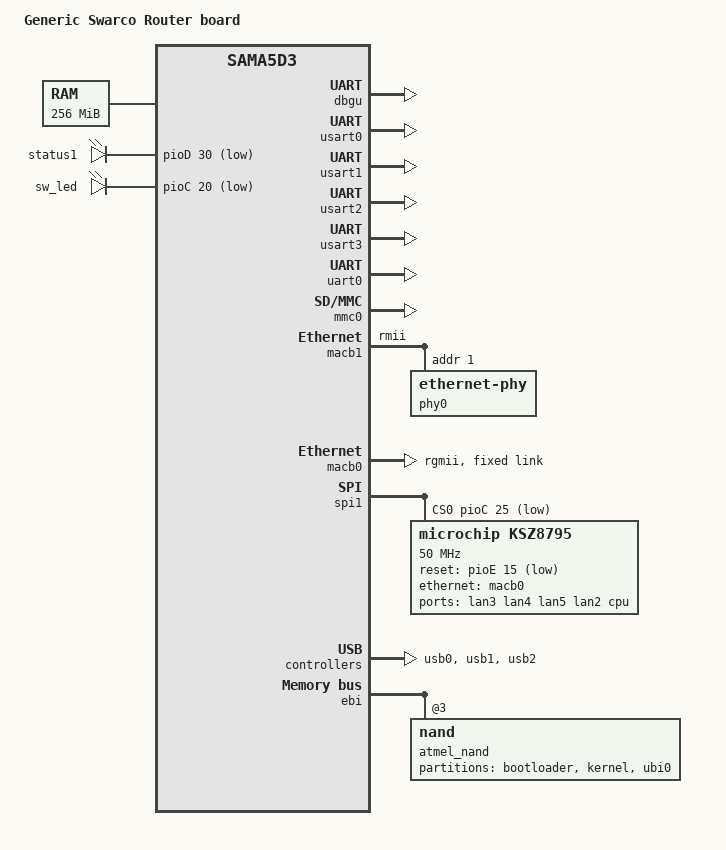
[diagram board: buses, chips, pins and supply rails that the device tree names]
/*
 * sama5d35-swarco-router.dtsi - Device Tree include file with common stuff
 * for Swarco Fiber Router and Swarco Ethernet Router. These boards are
 * identical except for the network ports.
 *
 *  Copyright (C) 2013 Atmel,
 *                2013 Ludovic Desroches <ludovic.desroches@atmel.com>
 *                2016 Karl Olsen <karl@micro-technic.com>
 *                2020 Guido Classen 
 *
 * Licensed under GPLv2 or later.
 */

#include "sama5d35.dtsi"

/ {
	model = "Generic Swarco Router board";
	compatible = "atmel,sama5d35-swarco-router", "atmel,sama5d35", "atmel,sama5d3", "atmel,sama5";

	chosen {
		stdout-path = "serial0:115200n8";
		/* bootargs = "rootfstype=ubifs ubi.mtd=2 root=ubi0:rootfs"; */
	};

	memory {
		reg = <0x20000000 0x10000000>;
	};

	clocks {
		slow_xtal {
			clock-frequency = <32768>;
		};

		main_xtal {
			clock-frequency = <12000000>;
		};
	};

	gpioleds {
		compatible = "gpio-leds";
		
		/* D7-B green LED in front */
		led_status1 {
			label = "status1";
			gpios = <&pioD 30 GPIO_ACTIVE_LOW>;
		};

		/* D1 green SMD LED */
		led_sw {
			label = "sw_led";
			gpios = <&pioC 20 GPIO_ACTIVE_LOW>;
			default-state = "on";
			linux,default-trigger = "cpu0";
		};
	};

	ahb {
		apb {
			/* DBGU (/dev/ttyS0): Console port. RxD, TxD.
			 * Accessible through USB Device port with FTDI USB-serial converter. */
			dbgu: serial@ffffee00 {
				atmel,use-dma-rx;
				atmel,use-dma-tx;
				status = "okay";
			};

			/* USART0 (/dev/ttyS1): RS485. RxD, TxD, RTS.
			 * CN4 DSUB-9 male on front. */
			usart0: serial@f001c000 {
				pinctrl-0 = <&pinctrl_usart0 &pinctrl_usart0_rts>;
				linux,rs485-enabled-at-boot-time;
				rs485-rts-delay = <0 0>;
				status = "okay";
			};

			/* USART1 (/dev/ttyS2): RS422. RxD, TxD.
			 * CN5 DSUB-9 male on front. */
			usart1: serial@f0020000 {
				status = "okay";
			};

			/* USART2 (/dev/ttyS3): RS232 with full modem.
			 * CN3 DSUB-9 male on front. */
			usart2: serial@f8020000 {
				pinctrl-0 = <&pinctrl_usart2 &pinctrl_usart2_rts_cts>;
				dtr-gpios = <&pioE 27 GPIO_ACTIVE_LOW>;
				rng-gpios = <&pioE 28 GPIO_ACTIVE_LOW>;
				dsr-gpios = <&pioE 29 GPIO_ACTIVE_LOW>;
				dcd-gpios = <&pioE 30 GPIO_ACTIVE_LOW>;
				status = "okay";
			};

			/* USART3 (/dev/ttyS4): RS232#1. RxD, TxD.
			 * CN7 10-pin box header. */
			usart3: serial@f8024000 {
				status = "okay";
			};

			/* UART0 (dev(ttyS5): RS232#2. RxD, TxD.
			 * CN6 10-pin box header. */
			uart0: serial@f0024000 {
				status = "okay";
			};

			/* MicroSD connector */
			mmc0: mmc@f0000000 {
				pinctrl-0 = <&pinctrl_mmc0_clk_cmd_dat0 &pinctrl_mmc0_dat1_3 &pinctrl_mmc0_cd>;
				/* If you want to prevent DMA usage:
				 * dma-names = "rxtxdlesnotexist"; */
				status = "okay";

				slot@0 {
					reg = <0>;
					bus-width = <4>;
					cd-gpios = <&pioB 17 GPIO_ACTIVE_LOW>;
				};
			};

			/* 10/100 macb with KSZ8041FTLI phy.
			 * U2 RJ45 magjack on front. */
			macb1: ethernet@f802c000 {
				phy-mode = "rmii";
				#address-cells = <1>;
				#size-cells = <0>;
				status = "okay";

				phy0: ethernet-phy@1 {
					reg = <1>;
				};
			};

			/* Gigabit gmac directly connected to a KSZ8795 or
			 * KSZ8765 5-port switch. We use a platform "fixed"
			 * MDIO bus (CONFIG_FIXED_PHY) at 1000M always up
			 * instead of a physical MDIO bus.
			 * The KSZ87x5 is managed through SPI interface. */
			macb0: ethernet@f0028000 {
				pinctrl-0 = <&pinctrl_macb0_data_rgmii &pinctrl_macb0_signal_rgmii_nomdio>;
				phy-mode = "rgmii";
				#phy-mode = "rgmii-id";
				#address-cells = <1>;
				#size-cells = <0>;
				status = "okay";

				/* @@kro: Support for "fixed-link" has been patched into
				 * drivers/net/ethernet/cadence/macb.c.
				 * Without this macb.c only checks its own mii bus. */
				fixed-link {
					speed = <1000>;
					full-duplex;
				};
			};

			/* SPI */
			spi1: spi@f8008000 {
				/* The default pinctrl_spi1 covers SPCK, MISO, MOSI.
				 * Chip select is GPIO which does not need pinctrl. */
				/*
                                 * pinctrl-0 = <&pinctrl_spi_ksz>;
                                 */
                                cs-gpios = <&pioC 25 GPIO_ACTIVE_LOW>;
				status = "okay";
                                /*
                                 * id = <1>;
                                 */

				/* ksz87x5_spi@0 { */
				/* 	/\* Micrel KSZ8795 / KSZ8765 5-port switch *\/ */
				/* 	compatible = "micrel,ksz8765"; */
				/* 	reg = <0>; */
				/* 	reset-gpios = <&pioE 15 GPIO_ACTIVE_LOW>; */
				/* 	spi-max-frequency = <50000000>; */
				/* 	#address-cells = <1>; */
				/* 	#size-cells = <0>; */
					
				/* 	ports { */
				/* 		#address-cells = <1>; */
				/* 		#size-cells = <0>; */

				/* 		port4@4 { */
				/* 			reg = <4>; */
				/* 			label = "cpu"; */
				/* 			ethernet = <&macb0>; */
				/* 		}; */
				/* 	}; */
				/* }; */
		                ksz8795: ksz8795@0 {
                                        /* Micrel KSZ8795  5-port switch */
			                compatible = "microchip,ksz8795";
			                reg = <0>;
                                        reset-gpios = <&pioE 15 GPIO_ACTIVE_LOW>; 
			                spi-max-frequency = <50000000>;
			                /*
                                         * spi-cpha;
			                 * spi-cpol;
                                         */
                                        status = "okay";

			                ports {
				                #address-cells = <1>;
				                #size-cells = <0>;
				                port@0 {
					                reg = <0>;
					                label = "lan3";
				                };
				                port@1 {
					                reg = <1>;
					                label = "lan4";
				                };
				                port@2 {
					                reg = <2>;
					                label = "lan5";
				                };
				                port@3 {
					                reg = <3>;
					                label = "lan2";
				                };
				                port@4 {
					                reg = <4>;
					                label = "cpu";
					                ethernet = <&macb0>;
				                        phy-mode = "rgmii-id";
					                fixed-link {
						                speed = <1000>;
						                full-duplex;
					                };
				                };
			                };
		                };
                                
			};

			/* Watchdog */
			watchdog@fffffe40 {
				/delete-property/ atmel,dbg-halt;
				status = "okay";
			};

			/* RTC */
			/* Nothing necessary, is automatically enabled */

			/* Main clock crystal frequency */
			pmc: pmc@fffffc00 {
				main: mainck {
					clock-frequency = <12000000>;
				};
			};

			pinctrl@fffff200 {
				board {
					/* Card Detect GPIO input for MicroSD */
					pinctrl_mmc0_cd: mmc0_cd-0 {
						atmel,pins =
							<AT91_PIOB 17 AT91_PERIPH_GPIO AT91_PINCTRL_PULL_UP_DEGLITCH>;
					};

					/* VBUS detect GPIO input pin for USB Device */
					pinctrl_usba_vbus: usba_vbus-0 {
						atmel,pins =
							<AT91_PIOD 28 AT91_PERIPH_GPIO AT91_PINCTRL_DEGLITCH>;
					};

					/* RTS pin for USART0 (RS485) */
					pinctrl_usart0_rts: usart0_rts-0 {
						atmel,pins =
							<AT91_PIOD 16 AT91_PERIPH_A AT91_PINCTRL_NONE>;
					};

					/* Control signals for macb0 rgmii. Same as pinctrl_macb0_signal_rgmii
					 * but with PB16 (GMDC) and PB17 (GMDIO) removed. */
					pinctrl_macb0_signal_rgmii_nomdio: macb0_signal_rgmii_nomdio {
						atmel,pins =
							<AT91_PIOB 8 AT91_PERIPH_A AT91_PINCTRL_NONE    /* PB8 periph A GTXCK, conflicts with PWMH2 */
							 AT91_PIOB 9 AT91_PERIPH_A AT91_PINCTRL_NONE    /* PB9 periph A GTXEN, conflicts with PWML2 */
							 AT91_PIOB 11 AT91_PERIPH_A AT91_PINCTRL_NONE   /* PB11 periph A GRXCK, conflicts with RD1 */
							 AT91_PIOB 13 AT91_PERIPH_A AT91_PINCTRL_NONE   /* PB13 periph A GRXER, conflicts with PWML3 */
							 AT91_PIOB 18 AT91_PERIPH_A AT91_PINCTRL_NONE>; /* PB18 periph A G125CK */
					};

                                        /* 2020-09-21 gc: pioE 15 GPIO_ACTIVE_LOW */
                                        pinctrl_spi_ksz: spi_ksz {
						atmel,pins =
							<AT91_PIOE 15 AT91_PERIPH_GPIO AT91_PINCTRL_NONE> ; /* GMAC_RESET */
					};

					/* GPIOs for modem 3G/4G ID. GPI with pullup. */
					pinctrl_modemid: modemid-0 {
						atmel,pins =
							<AT91_PIOE 10 AT91_PERIPH_GPIO AT91_PINCTRL_PULL_UP	/* PE10 = ID_4G_MODEM */
							 AT91_PIOE 16 AT91_PERIPH_GPIO AT91_PINCTRL_PULL_UP>;	/* PE16 = ID_3G_MODEM */
					};
				};
			};
		};

		/* USB Device */
		usb0: gadget@500000 {
			atmel,vbus-gpio = <&pioD 28 GPIO_ACTIVE_HIGH>;
			pinctrl-names = "default";
			/* The modem ID pins have nothing to do with USB Device, but we
			 * have to configure them somewhere. */
			pinctrl-0 = <&pinctrl_usba_vbus &pinctrl_modemid>;
			status = "okay";
		};

		/* USB Host fullspeed */
		usb1: ohci@600000 {
			num-ports = <3>;
			atmel,vbus-gpio =
				<0				/* USB_A is device only */
				 0				/* USB_B: Modem module, VBUS controlled manually by PD24 */
				 &pioD 29 GPIO_ACTIVE_LOW>;	/* USB_C: Host connector powered through LM3526-L */
			status = "okay";
		};

		/* USB Host highspeed */
		usb2: ehci@700000 {
			status = "okay";
		};

                /* 2020-09-21 gc: nand0 => old config  @todo remove */
		/* 128/256/512 MB NAND flash.
		 * ECC settings must match with the bootloader. */
		/* nand0: nand@60000000 { */
		/* 	nand-bus-width = <8>; */
		/* 	nand-ecc-mode = "hw"; */
		/* 	atmel,has-pmecc; */
		/* 	atmel,pmecc-cap = <8>; */
		/* 	atmel,pmecc-sector-size = <512>; */
		/* 	nand-on-flash-bbt; */
		/* 	status = "okay"; */

		/* 	/\* mtd0: 128 KB (1 block) for bootloader. *\/ */
		/* 	bootloader@0 { */
		/* 		label = "bootloader"; */
		/* 		reg = <0x00000000 0x00020000>;	/\* 128 KB *\/ */
		/* 	}; */

		/* 	/\* mtd1: Almost 8 MB (63 blocks) for kernel+initramfs. *\/ */
		/* 	kernel@20000 { */
		/* 		label = "kernel"; */
		/* 		reg = <0x00020000 0x007E0000>;	/\* 8064 KB *\/ */
		/* 	}; */

		/* 	/\* mtd2: The rest (120/248/504 MB) for UBI. This */
		/* 	 * normally contains one volume called "rootfs". */
		/* 	 * */
		/* 	 * The magic value MTDPART_SIZ_FULL (0) isn't mentioned */
		/* 	 * in the devicetree binding docs, but it works. With */
		/* 	 * this you don't need separate .dtb files for */
		/* 	 * different NAND flash sizes. *\/ */
		/* 	ubi0@800000 { */
		/* 		label = "ubi0"; */
		/* 		reg = <0x00800000 0x00000000>;	/\* MTDPART_SIZ_FULL *\/ */
		/* 	}; */
		/* }; */
                ebi: ebi@10000000 { /* NAND has NCS3, which is not a GPIO */
			pinctrl-0 = <&pinctrl_ebi_nand_addr>;
			pinctr-name = "default";
			status = "okay";

			nand_controller: nand-controller {
				status = "okay";

				nand@3 {
					reg = <0x3 0x0 0x2>;
					atmel,rb = <0>;
					nand-bus-width = <8>;
					nand-ecc-mode = "hw";
					nand-ecc-strength = <8>;
					nand-ecc-step-size = <512>;
					nand-on-flash-bbt;
					label = "atmel_nand";

					partitions {
						compatible = "fixed-partitions";
						#address-cells = <1>;
						#size-cells = <1>;

			                        /* mtd0: 128 KB (1 block) for bootloader. */
			                        bootloader@0 {
				                        label = "bootloader";
				                        reg = <0x00000000 0x00020000>;	/* 128 KB */
			                        };
                                                
			                        /* mtd1: Almost 8 MB (63 blocks) for kernel+initramfs. */
			                        kernel@20000 {
				                        label = "kernel";
				                        reg = <0x00020000 0x007E0000>;	/* 8064 KB */
			                        };
                                                
			                        /* mtd2: The rest (120/248/504 MB) for UBI. This
			                        * normally contains one volume called "rootfs".
			                        *
			                        * The magic value MTDPART_SIZ_FULL (0) isn't mentioned
			                        * in the devicetree binding docs, but it works. With
			                        * this you don't need separate .dtb files for
			                        * different NAND flash sizes. */
			                        ubi0@800000 {
				                        label = "ubi0";
				                        reg = <0x00800000 0x00000000>;	/* MTDPART_SIZ_FULL */
			                        };
					};
				};
			};
		};                
	};
};
